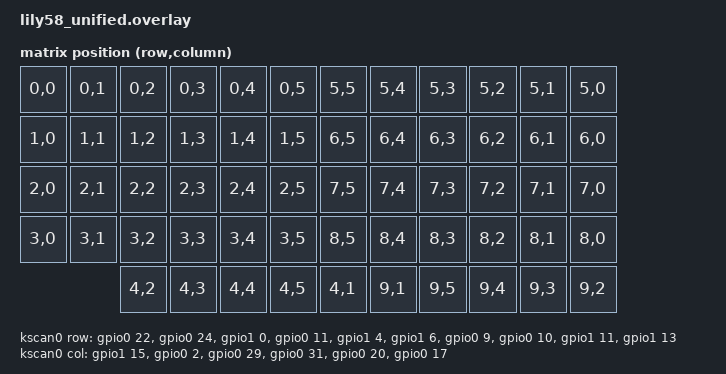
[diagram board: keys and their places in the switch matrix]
/*
 * Copyright (c) 2024 The ZMK Contributors
 * SPDX-License-Identifier: MIT
 */

#include <dt-bindings/zmk/matrix_transform.h>
#include "lily58_unified-layouts.dtsi"

/ {
    chosen {
        zmk,kscan = &kscan0;
        zmk,physical-layout = &physical_layout0;
    };

    default_transform: keymap_transform_0 {
        compatible = "zmk,matrix-transform";
        columns = <6>;
        rows = <10>;
        /*
         * Rows 0-4  = left half  (top to bottom)
         * Rows 5-9  = right half (top to bottom)
         * C0 = outermost column (shared left+right)
         * C5 = innermost column (shared left+right)
         */
        map = <
RC(0,0) RC(0,1) RC(0,2) RC(0,3) RC(0,4) RC(0,5)   RC(5,5) RC(5,4) RC(5,3) RC(5,2) RC(5,1) RC(5,0)
RC(1,0) RC(1,1) RC(1,2) RC(1,3) RC(1,4) RC(1,5)   RC(6,5) RC(6,4) RC(6,3) RC(6,2) RC(6,1) RC(6,0)
RC(2,0) RC(2,1) RC(2,2) RC(2,3) RC(2,4) RC(2,5)   RC(7,5) RC(7,4) RC(7,3) RC(7,2) RC(7,1) RC(7,0)
RC(3,0) RC(3,1) RC(3,2) RC(3,3) RC(3,4) RC(3,5)                   RC(8,5) RC(8,4) RC(8,3) RC(8,2) RC(8,1) RC(8,0)
                RC(4,2) RC(4,3) RC(4,4) RC(4,5) RC(4,1) RC(9,1) RC(9,5) RC(9,4) RC(9,3) RC(9,2)
        >;
    };

    kscan0: kscan_0 {
        compatible = "zmk,kscan-gpio-matrix";
        wakeup-source;
        diode-direction = "col2row";

        col-gpios
            /* C0 outermost */ = <&gpio1 15 GPIO_ACTIVE_HIGH>
            /* C1           */ , <&gpio0 2  GPIO_ACTIVE_HIGH>
            /* C2           */ , <&gpio0 29 GPIO_ACTIVE_HIGH>
            /* C3           */ , <&gpio0 31 GPIO_ACTIVE_HIGH>
            /* C4           */ , <&gpio0 20 GPIO_ACTIVE_HIGH>
            /* C5 innermost */ , <&gpio0 17 GPIO_ACTIVE_HIGH>
            ;

        row-gpios
            /* R0 left  top    */ = <&gpio0 22 (GPIO_ACTIVE_HIGH | GPIO_PULL_DOWN)>
            /* R1 left         */ , <&gpio0 24 (GPIO_ACTIVE_HIGH | GPIO_PULL_DOWN)>
            /* R2 left         */ , <&gpio1 0  (GPIO_ACTIVE_HIGH | GPIO_PULL_DOWN)>
            /* R3 left         */ , <&gpio0 11 (GPIO_ACTIVE_HIGH | GPIO_PULL_DOWN)>
            /* R4 left  bottom */ , <&gpio1 4  (GPIO_ACTIVE_HIGH | GPIO_PULL_DOWN)>
            /* R5 right top    */ , <&gpio1 6  (GPIO_ACTIVE_HIGH | GPIO_PULL_DOWN)>
            /* R6 right        */ , <&gpio0 9  (GPIO_ACTIVE_HIGH | GPIO_PULL_DOWN)>
            /* R7 right        */ , <&gpio0 10 (GPIO_ACTIVE_HIGH | GPIO_PULL_DOWN)>
            /* R8 right        */ , <&gpio1 11 (GPIO_ACTIVE_HIGH | GPIO_PULL_DOWN)>
            /* R9 right bottom */ , <&gpio1 13 (GPIO_ACTIVE_HIGH | GPIO_PULL_DOWN)>
            ;
    };
};

&physical_layout0 {
    kscan = <&kscan0>;
    transform = <&default_transform>;
};

&blue_led {
    status = "disabled";
};
